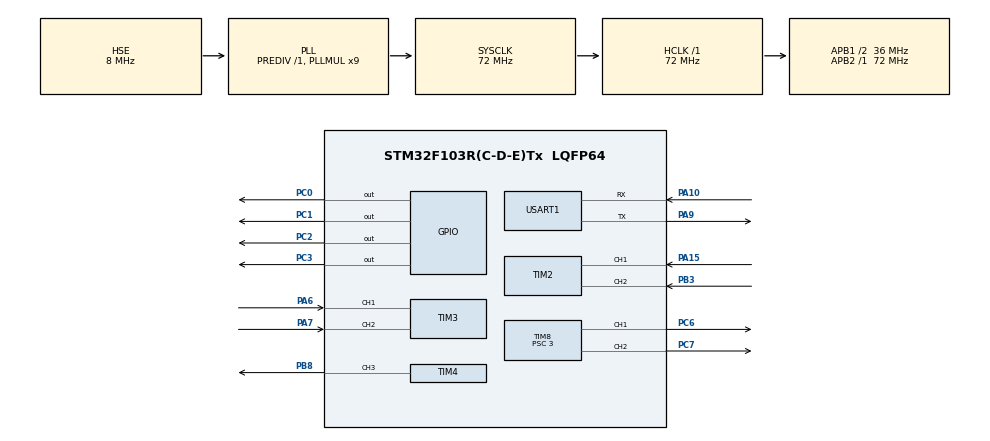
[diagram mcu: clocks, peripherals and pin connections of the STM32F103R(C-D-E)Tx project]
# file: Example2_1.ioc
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Mcu.Family=STM32F1
Mcu.Name=STM32F103R(C-D-E)Tx
Mcu.Package=LQFP64
NVIC.PriorityGroup=NVIC_PRIORITYGROUP_4
NVIC.TIM6_IRQn=true\:0\:0\:false\:false\:true\:true\:true\:true
PA10.Mode=Asynchronous
PA10.Signal=USART1_RX
PA13.Mode=Serial_Wire
PA13.Signal=SYS_JTMS-SWDIO
PA14.Mode=Serial_Wire
PA14.Signal=SYS_JTCK-SWCLK
PA15.Signal=S_TIM2_CH1_ETR
PA6.Signal=S_TIM3_CH1
PA7.Signal=S_TIM3_CH2
PA9.Mode=Asynchronous
PA9.Signal=USART1_TX
PB3.Signal=S_TIM2_CH2
PB8.Signal=S_TIM4_CH3
PC0.Signal=GPIO_Output
PC1.Signal=GPIO_Output
PC2.Signal=GPIO_Output
PC3.Signal=GPIO_Output
PC6.Signal=S_TIM8_CH1
PC7.Signal=S_TIM8_CH2
PD0-OSC_IN.Mode=HSE-External-Oscillator
PD0-OSC_IN.Signal=RCC_OSC_IN
PD1-OSC_OUT.Mode=HSE-External-Oscillator
PD1-OSC_OUT.Signal=RCC_OSC_OUT
ProjectManager.HeapSize=0x200
ProjectManager.StackSize=0x400
ProjectManager.TargetToolchain=STM32CubeIDE
RCC.AHBFreq_Value=72000000
RCC.APB1CLKDivider=RCC_HCLK_DIV2
RCC.APB1Freq_Value=36000000
RCC.APB1TimFreq_Value=72000000
RCC.APB2Freq_Value=72000000
RCC.APB2TimFreq_Value=72000000
RCC.HCLKFreq_Value=72000000
RCC.PLLMUL=RCC_PLL_MUL9
RCC.PLLSourceVirtual=RCC_PLLSOURCE_HSE
RCC.SYSCLKFreq_VALUE=72000000
RCC.SYSCLKSource=RCC_SYSCLKSOURCE_PLLCLK
RCC.USBFreq_Value=72000000
SH.S_TIM2_CH1_ETR.0=TIM2_CH1,Encoder_Interface
SH.S_TIM2_CH2.0=TIM2_CH2,Encoder_Interface
SH.S_TIM3_CH1.0=TIM3_CH1,Encoder_Interface
SH.S_TIM3_CH2.0=TIM3_CH2,Encoder_Interface
SH.S_TIM4_CH3.0=TIM4_CH3,PWM Generation3 CH3
SH.S_TIM8_CH1.0=TIM8_CH1,PWM Generation1 CH1
SH.S_TIM8_CH2.0=TIM8_CH2,PWM Generation2 CH2
TIM2.AutoReloadPreload=TIM_AUTORELOAD_PRELOAD_ENABLE
TIM2.EncoderMode=TIM_ENCODERMODE_TI12
TIM3.AutoReloadPreload=TIM_AUTORELOAD_PRELOAD_ENABLE
TIM3.EncoderMode=TIM_ENCODERMODE_TI12
TIM4.Channel-PWM\ Generation3\ CH3=TIM_CHANNEL_3
TIM4.Period=1999
TIM4.Prescaler=719
TIM6.AutoReloadPreload=TIM_AUTORELOAD_PRELOAD_DISABLE
TIM6.Period=7199
TIM6.Prescaler=499
TIM8.Channel-PWM\ Generation1\ CH1=TIM_CHANNEL_1
TIM8.Channel-PWM\ Generation2\ CH2=TIM_CHANNEL_2
TIM8.Period=999
TIM8.Prescaler=3
USART1.VirtualMode=VM_ASYNC
VP_TIM6_VS_ClockSourceINT.Mode=Enable_Timer
board=custom

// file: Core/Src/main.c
/* USER CODE BEGIN Header */
/**
  ******************************************************************************
  * @file           : main.c
  * @brief          : Main program body
  ******************************************************************************
  * @attention
  *
  * Copyright (c) 2023 STMicroelectronics.
  * All rights reserved.
  *
  * This software is licensed under terms that can be found in the LICENSE file
  * in the root directory of this software component.
  * If no LICENSE file comes with this software, it is provided AS-IS.
  *
  ******************************************************************************
  */
/* USER CODE END Header */
#include "main.h"
#include "tim.h"
#include "usart.h"
#include "gpio.h"

/* USER CODE BEGIN PD */
#define m_DirPort GPIOC
#define AIN1 GPIO_PIN_0
#define AIN2 GPIO_PIN_1
#define BIN1 GPIO_PIN_2
#define BIN2 GPIO_PIN_3

#define filterNum 3

//#define Velocity_Kp 15.0
//#define Velocity_Ki 1.00
//#define Velocity_Kd 2.0

#define Velocity_Kp 15.0
#define Velocity_Ki 1.0
#define Velocity_Kd 0.0

#define limit_value 1000
/* USER CODE END PD */

/* USER CODE BEGIN PV */
short leftEncoder[filterNum] = {0};
short rightEncoder[filterNum] = {0};
short encoderPulse[2]={0};
float leftSpeed = 0,rightSpeed = 0;
float leftTargetSpeed = 0;
float rightTargetSpeed = 0;
/* USER CODE END PV */

void SystemClock_Config(void);
/* USER CODE BEGIN PFP */

PID LeftMotor_PID;
PID RightMotor_PID;
/* USER CODE END PFP */

/* USER CODE BEGIN 0 */
int myabs(int a)
{
	int temp;
	if(a<0)
	  temp=-a;
	else
	  temp=a;
	return temp;
}

void Left_Go()
{
		HAL_GPIO_WritePin(m_DirPort,AIN1,GPIO_PIN_SET);
		HAL_GPIO_WritePin(m_DirPort,AIN2,GPIO_PIN_RESET);
}

void Right_Go()
{
		HAL_GPIO_WritePin(m_DirPort,BIN1,GPIO_PIN_SET);
		HAL_GPIO_WritePin(m_DirPort,BIN2,GPIO_PIN_RESET);
}

void Left_Back()
{
		HAL_GPIO_WritePin(m_DirPort,AIN1,GPIO_PIN_RESET);
		HAL_GPIO_WritePin(m_DirPort,AIN2,GPIO_PIN_SET);
}

void Right_Back()
{
		HAL_GPIO_WritePin(m_DirPort,BIN1,GPIO_PIN_RESET);
		HAL_GPIO_WritePin(m_DirPort,BIN2,GPIO_PIN_SET);
}

void Go_Back()
{
		HAL_GPIO_WritePin(m_DirPort,AIN1,GPIO_PIN_RESET);
		HAL_GPIO_WritePin(m_DirPort,AIN2,GPIO_PIN_SET);

		HAL_GPIO_WritePin(m_DirPort,BIN1,GPIO_PIN_RESET);
		HAL_GPIO_WritePin(m_DirPort,BIN2,GPIO_PIN_SET);
}

void Left_Stop()
{
		HAL_GPIO_WritePin(m_DirPort,AIN1,GPIO_PIN_RESET);
		HAL_GPIO_WritePin(m_DirPort,AIN2,GPIO_PIN_RESET);
}

void Right_Stop()
{
		HAL_GPIO_WritePin(m_DirPort,BIN1,GPIO_PIN_RESET);
		HAL_GPIO_WritePin(m_DirPort,BIN2,GPIO_PIN_RESET);
}

void MotorControl(int leftMotorPWM, int rightMotorPWM)
{
		if(leftMotorPWM>=0&&rightMotorPWM>=0)
		{
//			printf("111\r\n");
				Left_Go();
				Right_Go();
				__HAL_TIM_SET_COMPARE(&htim8,TIM_CHANNEL_1,leftMotorPWM);
				__HAL_TIM_SET_COMPARE(&htim8,TIM_CHANNEL_2,rightMotorPWM);
//		printf("leftPWM is %d\r\n",leftMotorPWM);
//		printf("rightPWM is %d\r\n",rightMotorPWM);
		}

		else if(leftMotorPWM<0&&rightMotorPWM<0)
		{
				Left_Back();
				Right_Back();
				__HAL_TIM_SET_COMPARE(&htim8,TIM_CHANNEL_1,myabs(leftMotorPWM));
				__HAL_TIM_SET_COMPARE(&htim8,TIM_CHANNEL_2,myabs(rightMotorPWM));
		}

		else if(leftMotorPWM==0&&rightMotorPWM==0)
		{
				Left_Stop();
				Right_Stop();
				__HAL_TIM_SET_COMPARE(&htim8,TIM_CHANNEL_1,0);
				__HAL_TIM_SET_COMPARE(&htim8,TIM_CHANNEL_2,0);
		}
}

void Set_Servo_angle(TIM_HandleTypeDef * htim,uint32_t Channel,uint8_t angle)  //舵机驱动
{
	uint16_t compare_value=0;
	if(angle <= 180)   //限制角度�??180°
	{
		compare_value=0.5*2000/20+angle*2000/20/90;		//角度转化为数�??
		__HAL_TIM_SET_COMPARE(htim, Channel, compare_value);
	}
}

void GetEncoderPulse()
{
	  encoderPulse[0] = -((short)__HAL_TIM_GET_COUNTER(&htim2));
	  encoderPulse[1] = -((short)__HAL_TIM_GET_COUNTER(&htim3));

    __HAL_TIM_GET_COUNTER(&htim2) = 0;	 //计数值重新清�??
    __HAL_TIM_GET_COUNTER(&htim3) = 0;
}

float CalActualSpeed(int pulse)
{
    return (float)(0.003092424 * pulse);
}

/**
  * @brief  PID相关参数的初始化
  * @param  PID的结构体指针
  */
void PID_Init(PID *p)
{
    p->Kp = Velocity_Kp;
    p->Ki = Velocity_Ki;
    p->Kd = Velocity_Kd;
    p->last_error = 0;
    p->prev_error = 0;
    p->limit = limit_value;
    p->pwm_add = 0;
}

 /**
  * @brief  PID相关参数的初始化
  * @param  PID的结构体指针
  */
void PID_Cal(int targetSpeed,int currentSpeed,PID *p)
{
    int error = targetSpeed - currentSpeed;
    p->pwm_add += p->Kp*(error - p->last_error) + p->Ki*error + p->Kd*(error - 2*p->last_error+p->prev_error);

		p->prev_error = p->last_error;
	  p->last_error = error;

		if(p->pwm_add>p->limit) p->pwm_add=p->limit;
		if(p->pwm_add<-p->limit) p->pwm_add=-p->limit;
}

/* USER CODE END 0 */

int main(void)
{

  /* MCU Configuration--------------------------------------------------------*/

  /* Reset of all peripherals, Initializes the Flash interface and the Systick. */
  HAL_Init();

  /* Configure the system clock */
  SystemClock_Config();

  /* Initialize all configured peripherals */
  MX_GPIO_Init();
  MX_TIM8_Init();
  MX_TIM4_Init();
  MX_TIM2_Init();
  MX_TIM3_Init();
  MX_TIM6_Init();
  MX_USART1_UART_Init();
  /* USER CODE BEGIN 2 */
  HAL_TIM_Base_Start_IT(&htim6);  //使能定时�??6中断

  HAL_TIM_PWM_Start(&htim8,TIM_CHANNEL_1);  //使能定时�??8的PWM模式
  HAL_TIM_PWM_Start(&htim8,TIM_CHANNEL_2);

  HAL_TIM_PWM_Start(&htim4,TIM_CHANNEL_3);  //启动定时�??4的PWM模式

  HAL_TIM_Encoder_Start(&htim2,TIM_CHANNEL_1);  //启动定时�??2的编码器模式
  HAL_TIM_Encoder_Start(&htim2,TIM_CHANNEL_2);

  HAL_TIM_Encoder_Start(&htim3,TIM_CHANNEL_1);  //启动定时�??3的编码器模式
  HAL_TIM_Encoder_Start(&htim3,TIM_CHANNEL_2);

  PID_Init(&LeftMotor_PID);
  PID_Init(&RightMotor_PID);

  /* USER CODE END 2 */

  /* Infinite loop */
  while (1)
  {
	leftTargetSpeed = 0.2;
	rightTargetSpeed = 0.2;
	//MotorControl(99,99);
  }
}

void SystemClock_Config(void)
{
  RCC_OscInitTypeDef RCC_OscInitStruct = {0};
  RCC_ClkInitTypeDef RCC_ClkInitStruct = {0};

  /** Initializes the RCC Oscillators according to the specified parameters
  * in the RCC_OscInitTypeDef structure.
  */
  RCC_OscInitStruct.OscillatorType = RCC_OSCILLATORTYPE_HSE;
  RCC_OscInitStruct.HSEState = RCC_HSE_ON;
  RCC_OscInitStruct.HSEPredivValue = RCC_HSE_PREDIV_DIV1;
  RCC_OscInitStruct.HSIState = RCC_HSI_ON;
  RCC_OscInitStruct.PLL.PLLState = RCC_PLL_ON;
  RCC_OscInitStruct.PLL.PLLSource = RCC_PLLSOURCE_HSE;
  RCC_OscInitStruct.PLL.PLLMUL = RCC_PLL_MUL9;
  if (HAL_RCC_OscConfig(&RCC_OscInitStruct) != HAL_OK)
  {
    Error_Handler();
  }

  /** Initializes the CPU, AHB and APB buses clocks
  */
  RCC_ClkInitStruct.ClockType = RCC_CLOCKTYPE_HCLK|RCC_CLOCKTYPE_SYSCLK
                              |RCC_CLOCKTYPE_PCLK1|RCC_CLOCKTYPE_PCLK2;
  RCC_ClkInitStruct.SYSCLKSource = RCC_SYSCLKSOURCE_PLLCLK;
  RCC_ClkInitStruct.AHBCLKDivider = RCC_SYSCLK_DIV1;
  RCC_ClkInitStruct.APB1CLKDivider = RCC_HCLK_DIV2;
  RCC_ClkInitStruct.APB2CLKDivider = RCC_HCLK_DIV1;

  if (HAL_RCC_ClockConfig(&RCC_ClkInitStruct, FLASH_LATENCY_2) != HAL_OK)
  {
    Error_Handler();
  }
}

/* USER CODE BEGIN 4 */
void HAL_TIM_PeriodElapsedCallback(TIM_HandleTypeDef *htim)  //定时器6中断回调函数，每50ms调用
{
	float c_leftSpeed,c_rightSpeed;
  if(htim==(&htim6))
  {
		GetEncoderPulse();
		c_leftSpeed = CalActualSpeed(encoderPulse[0]);   //获得当前的�?�度�??
		c_rightSpeed = CalActualSpeed(encoderPulse[1]);
		printf("{Left_Speed is:%.2f m/s}\r\n",c_leftSpeed);
		printf("{right_Speed is:%.2f m/s}\r\n",c_rightSpeed);

		PID_Cal((leftTargetSpeed)*100,(c_leftSpeed)*100,&LeftMotor_PID);
		PID_Cal(rightTargetSpeed*100,c_rightSpeed*100,&RightMotor_PID);
		MotorControl(LeftMotor_PID.pwm_add,RightMotor_PID.pwm_add);
//		printf("%.2f,%.2f\r\n",c_leftSpeed,c_rightSpeed);

//		printf("leftpwmadd %d\r\n",LeftMotor_PID.pwm_add);
//		printf("rightpwmadd %d\r\n",RightMotor_PID.pwm_add);
//	  printf("currentLeftPulse is %d\r\n",encoderPulse[0]);
//		printf("currentrightPulse is %d\r\n",encoderPulse[1]);
//	  printf("----------------------------\r\n");
		 printf("{currentLeftSpeed is:%.2f}\r\n",c_leftSpeed);
		 printf("{currentrightSpeed is:%.2f}\r\n",c_rightSpeed);
  }
}
/* USER CODE END 4 */

void Error_Handler(void)
{
  __disable_irq();
  while (1)
  {
  }
}
